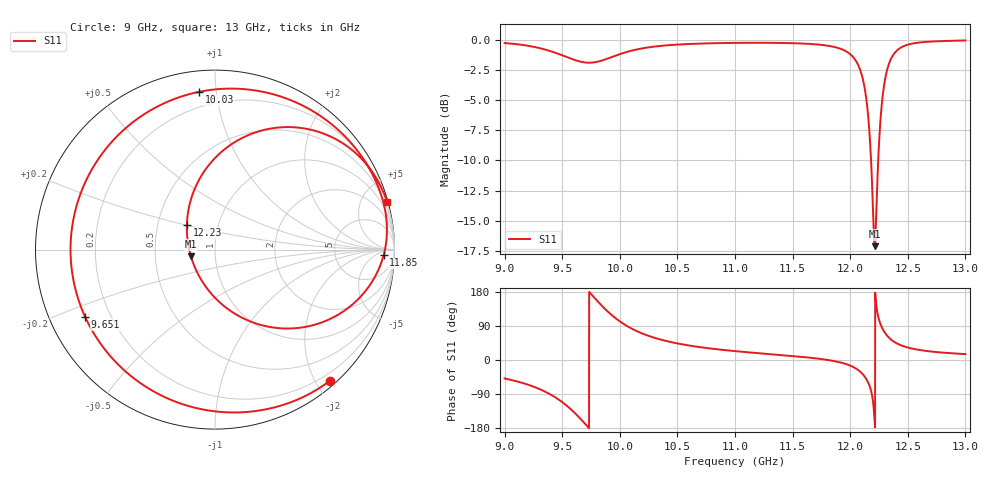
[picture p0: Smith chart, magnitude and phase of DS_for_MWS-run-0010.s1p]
! TOUCHSTONE file generated by CST DESIGN STUDIO
! Date and time: Tue Feb  4 17:57:37 2025
! Project name: C:\Work\MatlabApps\UnitCellOptimizationMatlab\CST\unitcell.cst
! Tree item: Tasks\Sweep1\SPara1\S-Parameters
! Header version: 2024
! Port assignment regex: !\s*Touchstone port\s*([0-9]+)\s*=\s*(CST MWS port|CST DES external port|CST DES block port)\s*(.+)\s* \(\"(.*)\"\)(\s*mode\s*([0-9]+))?.*
! Touchstone port assignment:
! Touchstone port 1 = CST DES external port 1 ("")
# GHz S MA R 50
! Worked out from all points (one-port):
!   4001 points, 9 GHz to 13 GHz, reference 50 ohm
!   lowest |S11| = -17.1 dB at 12.21 GHz (marker M1), VSWR 1.32, Z = 38.1 - j2.88 ohm
!   |S11| at or under -10 dB: 12.18 GHz to 12.24 GHz (61.74 MHz wide, 0.506 % of centre)
!   S11 on the Smith chart (normalised r, x): 9 GHz: 0.08, -2.20; 9.651 GHz: 0.11, -0.24; 10.03 GHz: 0.11, +0.90; 11.85 GHz: 25, -14; 12.23 GHz: 0.70, +0.20; 13 GHz: 0.11, +7.32
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9  0.9715 -48.8
9.263  0.9351 -71.7
9.396  0.9002 -90.6
9.5  0.8646 -111.1
9.576  0.8371 -130.2
9.651  0.8149 -152.7
9.725  0.8051 -177.3
9.797  0.811 158.3
9.899  0.8393 126.9
10  0.8739 102.0
10.031  0.8837 95.6
10.242  0.9314 64.5
10.5  0.9576 43.7
11  0.9734 23.4
11.5  0.9704 10.5
11.845  0.9399 -1.9
12  0.8736 -14.8
12.08  0.7664 -29.0
12.142  0.5594 -51.4
12.178  0.3395 -77.7
12.2  0.1841 -114.9
12.213  0.1393 -164.6
12.229  0.2092 138.5
12.266  0.4877 92.5
12.314  0.7299 66.7
12.392  0.8909 46.0
12.5  0.9567 32.9
13  0.9961 15.6
